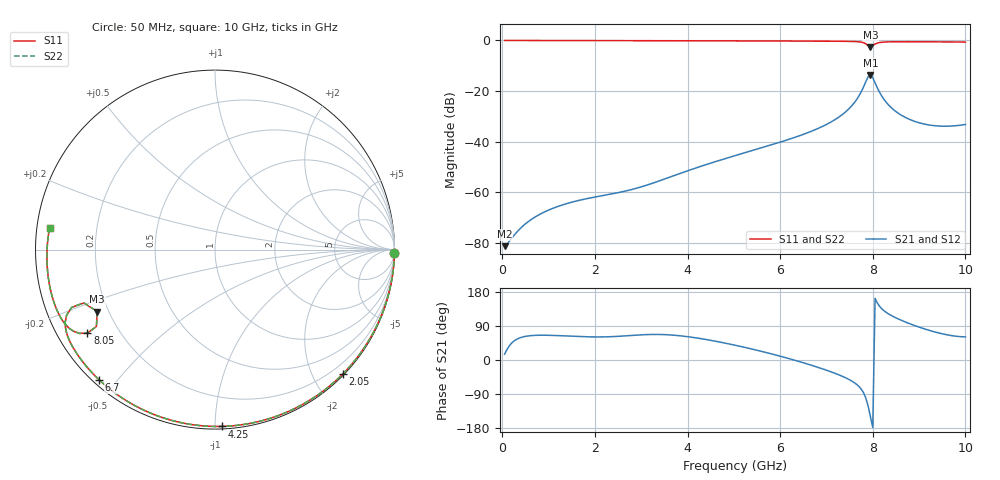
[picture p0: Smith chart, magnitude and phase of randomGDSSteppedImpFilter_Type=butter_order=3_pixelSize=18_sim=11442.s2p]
! freq	dB(S11)	phase(S11)	dB(S12)	phase(S12)
!  dB(S21)	phase(S21)	dB(S22)	phase(S22)
!S-par simulation data
#  GHz  S  DB  R 50
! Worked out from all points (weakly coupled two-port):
!   200 points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, 50 MHz to 10 GHz, reference 50 ohm
!   highest |S21| = -13.59 dB at 7.95 GHz (marker M1); lowest = -81.2 dB at 50 MHz (marker M2)
!   lowest |S11| = -2.6 dB at 7.95 GHz (marker M3), VSWR 6.73, Z = 7.87 - j12.1 ohm
!   |S11| at or under -10 dB: nowhere
!   |S22| runs from -2.6 to 0.0 dB; largest |S21 - S12| = 0
!   S11 on the Smith chart (normalised r, x): 50 MHz: open; 2.05 GHz: 0.02, -2.46; 4.25 GHz: 0.01, -1.04; 6.7 GHz: 0.02, -0.45; 8.05 GHz: 0.09, -0.30; 10 GHz: 0.04, +0.07
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0.05  -0.00 -1.1  -81.20 15.3  -81.20 15.3  -0.00 -1.1
0.15  -0.00 -3.3  -79.32 37.0  -79.32 37.0  -0.00 -3.3
0.5  -0.01 -11.0  -72.38 62.4  -72.38 62.4  -0.01 -11.0
0.8  -0.02 -17.6  -68.72 65.4  -68.72 65.4  -0.02 -17.6
1.75  -0.05 -38.0  -62.74 61.5  -62.74 61.5  -0.05 -38.0
2.05  -0.06 -44.3  -61.63 60.8  -61.63 60.8  -0.06 -44.3
3.4  -0.09 -71.5  -55.37 67.3  -55.37 67.3  -0.09 -71.5
4.25  -0.12 -87.8  -49.91 57.2  -49.91 57.2  -0.12 -87.8
5.05  -0.16 -102.4  -45.34 38.4  -45.34 38.4  -0.16 -102.4
6.7  -0.26 -131.7  -35.66 -14.8  -35.66 -14.8  -0.26 -131.7
7.45  -0.35 -145.9  -27.58 -49.1  -27.58 -49.1  -0.35 -145.9
7.65  -0.47 -150.9  -23.36 -64.3  -23.36 -64.3  -0.47 -150.9
7.8  -0.88 -156.2  -18.39 -86.3  -18.39 -86.3  -0.88 -156.2
7.9  -2.06 -157.9  -14.33 -121.7  -14.33 -121.7  -2.06 -157.9
7.95  -2.60 -152.3  -13.59 -150.5  -13.59 -150.5  -2.60 -152.3
8.05  -1.41 -146.8  -16.74 162.7  -16.74 162.7  -1.41 -146.8
8.2  -0.70 -151.6  -22.12 134.6  -22.12 134.6  -0.70 -151.6
8.35  -0.55 -155.6  -25.63 120.9  -25.63 120.9  -0.55 -155.6
8.65  -0.50 -161.9  -29.86 103.0  -29.86 103.0  -0.50 -162.0
9.05  -0.52 -169.6  -32.74 84.7  -32.74 84.7  -0.52 -169.6
9.5  -0.56 -178.0  -33.84 69.1  -33.84 69.1  -0.56 -178.0
10  -0.63 172.5  -33.17 61.0  -33.17 61.0  -0.63 172.4
